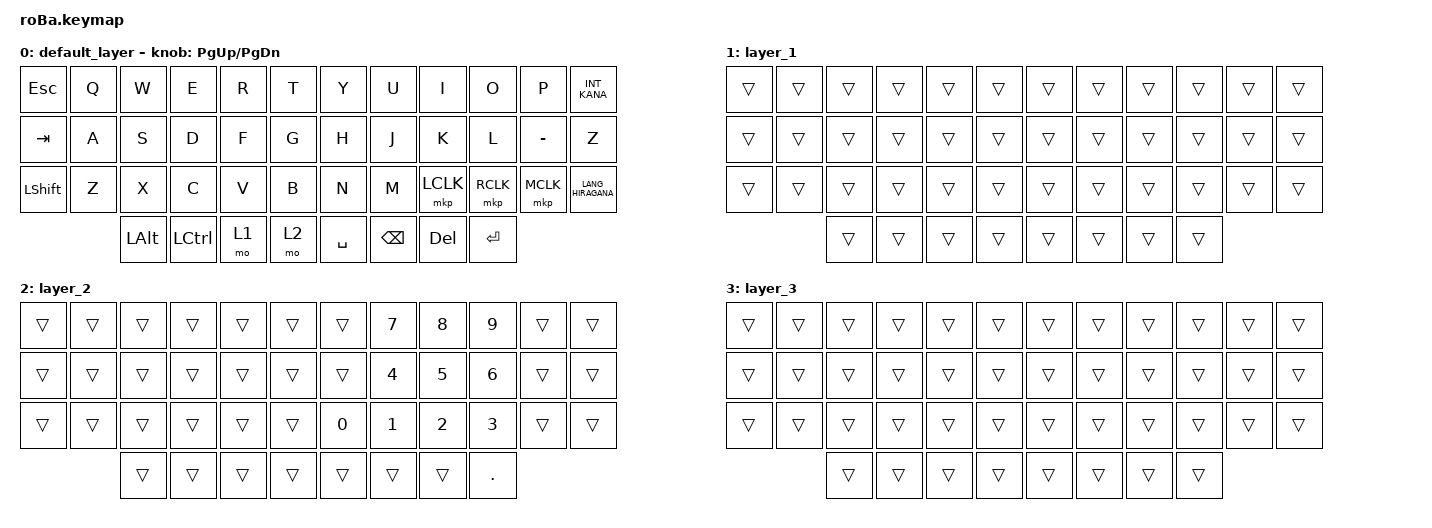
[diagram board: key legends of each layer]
#include <behaviors.dtsi>
#include <dt-bindings/zmk/keys.h>
#include <dt-bindings/zmk/pointing.h>

&mt {
    flavor = "balanced";
    quick-tap-ms = <0>;
};

&trackball {
    automouse-layer = <4>;
    scroll-layers = <5>;

    // arrows {
    //     layers = <3>;
    //     bindings =
    //         <&kp RIGHT_ARROW>,
    //         <&kp LEFT_ARROW>,
    //         <&kp UP_ARROW>,
    //         <&kp DOWN_ARROW>;
    //     tick = <10>;
    //     wait-ms = <5>;
    //     tap-ms = <5>;
    // };
};

/ {
    combos {
        compatible = "zmk,combos";

        tab {
            bindings = <&kp TAB>;
            key-positions = <11 12>;
        };

        shift_tab {
            bindings = <&kp LS(TAB)>;
            key-positions = <12 13>;
        };

        muhennkann {
            bindings = <&to_layer_0 INT_MUHENKAN>;
            key-positions = <11 10>;
        };

        double_quotation {
            bindings = <&kp DOUBLE_QUOTES>;
            key-positions = <20 21>;
        };

        eq {
            bindings = <&kp EQUAL>;
            key-positions = <24 25>;
        };
    };

    macros {
        to_layer_0: to_layer_0 {
            compatible = "zmk,behavior-macro-one-param";
            #binding-cells = <1>;
            bindings = <&to 0 &macro_param_1to1 &kp MACRO_PLACEHOLDER>;
            label = "TO_LAYER_0";
        };
    };

    behaviors {
        lt_to_layer_0: lt_to_layer_0 {
            compatible = "zmk,behavior-hold-tap";
            label = "LAYER_TAP_TO_0";
            bindings = <&mo>, <&to_layer_0>;

            #binding-cells = <2>;
            tapping-term-ms = <200>;
        };
    };

    keymap {
        compatible = "zmk,keymap";

        default_layer {
            bindings = <
&kp ESC         &kp Q  &kp W         &kp E      &kp R  &kp T             &kp Y          &kp U    &kp I      &kp O      &kp P      &kp INT_KANA
&kp TAB         &kp A  &kp S         &kp D      &kp F  &kp G             &kp H          &kp J    &kp K      &kp L      &kp MINUS  &kp Z
&kp LEFT_SHIFT  &kp Z  &kp X         &kp C      &kp V  &kp B             &kp N          &kp M    &mkp LCLK  &mkp RCLK  &mkp MCLK  &kp LANG_HIRAGANA
                       &kp LEFT_ALT  &kp LCTRL  &mo 1  &mo 2  &kp SPACE  &kp BACKSPACE  &kp DEL  &kp ENTER
            >;

            sensor-bindings = <&inc_dec_kp PG_UP PAGE_DOWN>;
        };

        layer_1 {
            bindings = <
&trans  &trans  &trans  &trans  &trans  &trans          &trans  &trans  &trans  &trans  &trans  &trans
&trans  &trans  &trans  &trans  &trans  &trans          &trans  &trans  &trans  &trans  &trans  &trans
&trans  &trans  &trans  &trans  &trans  &trans          &trans  &trans  &trans  &trans  &trans  &trans
                &trans  &trans  &trans  &trans  &trans  &trans  &trans  &trans
            >;
        };

        layer_2 {
            bindings = <
&trans  &trans  &trans  &trans  &trans  &trans          &trans  &kp N7  &kp N8   &kp N9  &trans  &trans
&trans  &trans  &trans  &trans  &trans  &trans          &trans  &kp N4  &kp N5   &kp N6  &trans  &trans
&trans  &trans  &trans  &trans  &trans  &trans          &kp N0  &kp N1  &kp N2   &kp N3  &trans  &trans
                &trans  &trans  &trans  &trans  &trans  &trans  &trans  &kp DOT
            >;
        };

        layer_3 {
            bindings = <
&trans  &trans  &trans  &trans  &trans  &trans          &trans  &trans  &trans  &trans  &trans  &trans
&trans  &trans  &trans  &trans  &trans  &trans          &trans  &trans  &trans  &trans  &trans  &trans
&trans  &trans  &trans  &trans  &trans  &trans          &trans  &trans  &trans  &trans  &trans  &trans
                &trans  &trans  &trans  &trans  &trans  &trans  &trans  &trans
            >;
        };
    };
};
